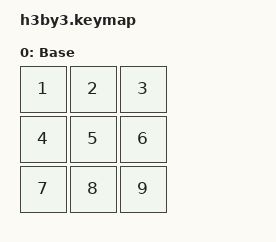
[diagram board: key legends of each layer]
/*
 * h3by3 - 3x3 Handwired Macropad Keymap
 *
 * Default layer (layer 0) : number keys 1-9
 *   1  2  3
 *   4  5  6
 *   7  8  9
 *
 * ZMK Studio unlock: press all 4 corners simultaneously (N1+N3+N7+N9)
 */

#include <behaviors.dtsi>
#include <dt-bindings/zmk/keys.h>

/ {
    combos {
        compatible = "zmk,combos";
        combo_studio_unlock {
            timeout-ms = <200>;
            key-positions = <0 2 6 8>;
            bindings = <&studio_unlock>;
        };
    };

    keymap {
        compatible = "zmk,keymap";

        default_layer {
            display-name = "Base";
            bindings = <
                &kp N1  &kp N2  &kp N3
                &kp N4  &kp N5  &kp N6
                &kp N7  &kp N8  &kp N9
            >;
        };
    };
};
